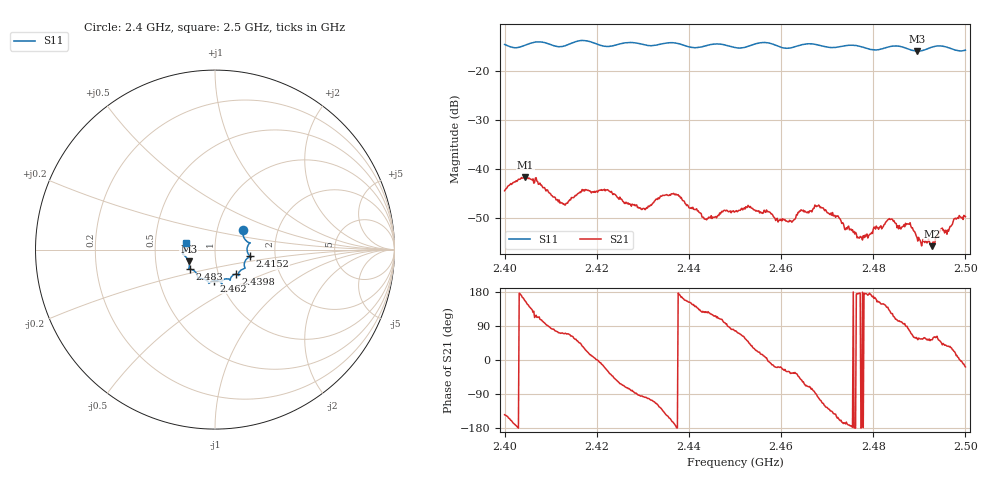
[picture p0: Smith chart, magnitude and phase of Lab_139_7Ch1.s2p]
# Hz S RI R 50
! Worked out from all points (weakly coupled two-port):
!   601 points, 2.4 GHz to 2.5 GHz, reference 50 ohm
!   highest |S21| = -41.60 dB at 2.4045 GHz (marker M1); lowest = -55.7 dB at 2.4928 GHz (marker M2)
!   lowest |S11| = -15.9 dB at 2.4895 GHz (marker M3), VSWR 1.38, Z = 36.9 - j4.99 ohm
!   |S11| at or under -10 dB: start of sweep to end of sweep
!   S12 and S22 are empty: the file has one direction only
!   S11 on the Smith chart (normalised r, x): 2.4 GHz: 1.33, +0.29; 2.4152 GHz: 1.48, -0.12; 2.4398 GHz: 1.21, -0.34; 2.462 GHz: 0.93, -0.33; 2.483 GHz: 0.74, -0.17; 2.5 GHz: 0.72, +0.06
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2.4e9  0.155 0.1066  -0.00492 -0.00353  0 0  0 0
2.4045e9  0.1799 0.0435  -0.00755 0.0035  0 0  0 0
2.4125e9  0.1792 -0.00788  0.00143 0.00432  0 0  0 0
2.415167e9  0.1954 -0.0378  0.00294 0.00441  0 0  0 0
2.416667e9  0.202 -0.0429  0.00455 0.00387  0 0  0 0
2.422167e9  0.1669 -0.0662  0.00556 -0.00269  0 0  0 0
2.430167e9  0.1513 -0.1107  -0.00048 -0.00398  0 0  0 0
2.433333e9  0.1311 -0.1337  -0.00251 -0.00447  0 0  0 0
2.437167e9  0.1316 -0.1429  -0.0056 -0.00054  0 0  0 0
2.439833e9  0.1154 -0.1365  -0.0038 0.0019  0 0  0 0
2.443667e9  0.0867 -0.1606  -0.0019 0.00248  0 0  0 0
2.45e9  0.0648 -0.1626  0.000853 0.00361  0 0  0 0
2.462e9  -0.00516 -0.1732  0.00243 -0.00172  0 0  0 0
2.466667e9  -0.0342 -0.1877  0.000947 -0.00356  0 0  0 0
2.468667e9  -0.0383 -0.1784  -0.00122 -0.00393  0 0  0 0
2.477167e9  -0.0965 -0.1517  -0.00207 0.000132  0 0  0 0
2.483e9  -0.1375 -0.1096  -0.00224 0.00198  0 0  0 0
2.483333e9  -0.1401 -0.1092  -0.00217 0.00224  0 0  0 0
2.487833e9  -0.1426 -0.0881  0.000586 0.00271  0 0  0 0
2.4895e9  -0.1464 -0.0657  0.0011 0.0017  0 0  0 0
2.492833e9  -0.1748 -0.0285  0.000979 0.00133  0 0  0 0
2.5e9  -0.1599 0.0391  0.00313 -0.00103  0 0  0 0
